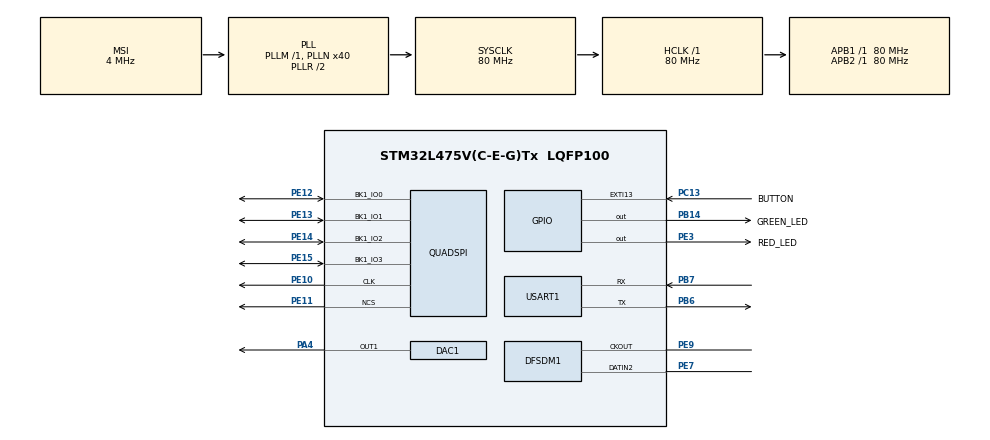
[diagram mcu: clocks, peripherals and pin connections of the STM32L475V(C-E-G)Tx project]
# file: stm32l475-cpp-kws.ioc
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DAC1.DAC_Trigger-DAC_OUT1=DAC_TRIGGER_T2_TRGO
DFSDM1.Divider=25
DFSDM1.DmaMode_reg_FIL0=ENABLE
DFSDM1.FastMode_reg_FIL0=ENABLE
DFSDM1.Filter_regChannel_FIL0=DFSDM_CHANNEL_2
DFSDM1.Fosr_FIL0=200
DFSDM1.SincOrder_FIL0=DFSDM_FILTER_SINC3_ORDER
Dma.DAC_CH1.0.Direction=DMA_MEMORY_TO_PERIPH
Dma.DAC_CH1.0.Instance=DMA1_Channel3
Dma.DAC_CH1.0.MemDataAlignment=DMA_MDATAALIGN_HALFWORD
Dma.DAC_CH1.0.MemInc=DMA_MINC_ENABLE
Dma.DAC_CH1.0.Mode=DMA_CIRCULAR
Dma.DAC_CH1.0.PeriphDataAlignment=DMA_PDATAALIGN_HALFWORD
Dma.DAC_CH1.0.PeriphInc=DMA_PINC_DISABLE
Dma.DAC_CH1.0.Priority=DMA_PRIORITY_LOW
Dma.DFSDM1_FLT0.1.Direction=DMA_PERIPH_TO_MEMORY
Dma.DFSDM1_FLT0.1.Instance=DMA1_Channel4
Dma.DFSDM1_FLT0.1.MemDataAlignment=DMA_MDATAALIGN_WORD
Dma.DFSDM1_FLT0.1.MemInc=DMA_MINC_ENABLE
Dma.DFSDM1_FLT0.1.Mode=DMA_CIRCULAR
Dma.DFSDM1_FLT0.1.PeriphDataAlignment=DMA_PDATAALIGN_WORD
Dma.DFSDM1_FLT0.1.PeriphInc=DMA_PINC_DISABLE
Dma.DFSDM1_FLT0.1.Priority=DMA_PRIORITY_LOW
Dma.Request0=DAC_CH1
Dma.Request1=DFSDM1_FLT0
Mcu.Family=STM32L4
Mcu.Name=STM32L475V(C-E-G)Tx
Mcu.Package=LQFP100
NVIC.DMA1_Channel3_IRQn=true\:0\:0\:false\:false\:true\:false\:true
NVIC.DMA1_Channel4_IRQn=true\:0\:0\:false\:false\:true\:false\:true
NVIC.EXTI15_10_IRQn=true\:0\:0\:false\:false\:true\:true\:true
NVIC.PriorityGroup=NVIC_PRIORITYGROUP_4
NVIC.TIM1_TRG_COM_TIM17_IRQn=true\:15\:0\:false\:false\:true\:false\:true
NVIC.TIM2_IRQn=true\:0\:0\:false\:false\:true\:true\:true
NVIC.TimeBase=TIM1_TRG_COM_TIM17_IRQn
NVIC.TimeBaseIP=TIM17
PA13\ (JTMS-SWDIO).Signal=SYS_JTMS-SWDIO
PA4.Signal=COMP_DAC11_group
PB14.GPIO_Label=GREEN_LED
PB14.Signal=GPIO_Output
PB3\ (JTDO-TRACESWO).Signal=SYS_JTDO-SWO
PB6.Mode=Asynchronous
PB6.Signal=USART1_TX
PB7.Mode=Asynchronous
PB7.Signal=USART1_RX
PC13.GPIO_Label=BUTTON
PC13.Signal=GPXTI13
PE10.Mode=Single Bank
PE10.Signal=QUADSPI_CLK
PE11.Mode=Single Bank
PE11.Signal=QUADSPI_NCS
PE12.Mode=Single Bank
PE12.Signal=QUADSPI_BK1_IO0
PE13.Mode=Single Bank
PE13.Signal=QUADSPI_BK1_IO1
PE14.Mode=Single Bank
PE14.Signal=QUADSPI_BK1_IO2
PE15.Mode=Single Bank
PE15.Signal=QUADSPI_BK1_IO3
PE3.GPIO_Label=RED_LED
PE3.Signal=GPIO_Output
PE7.Signal=S_DATAIN2DFSDM1
PE9.Signal=S_CKOUTDFSDM1
ProjectManager.HeapSize=0x200
ProjectManager.StackSize=0x400
ProjectManager.TargetToolchain=STM32CubeIDE
RCC.ADCFreq_Value=48000000
RCC.AHBFreq_Value=80000000
RCC.APB1Freq_Value=80000000
RCC.APB1TimFreq_Value=80000000
RCC.APB2Freq_Value=80000000
RCC.APB2TimFreq_Value=80000000
RCC.CortexFreq_Value=80000000
RCC.HCLKFreq_Value=80000000
RCC.HSE_VALUE=8000000
RCC.HSI_VALUE=16000000
RCC.LSE_VALUE=32768
RCC.MSI_VALUE=4000000
RCC.PLLN=40
RCC.PLLSAI1N=24
RCC.SYSCLKFreq_VALUE=80000000
RCC.SYSCLKSource=RCC_SYSCLKSOURCE_PLLCLK
RCC.USBFreq_Value=48000000
RCC.VCOOutputFreq_Value=160000000
SH.COMP_DAC11_group.0=DAC1_OUT1,DAC_OUT1
SH.S_CKOUTDFSDM1.0=DFSDM1_CKOUT,PDM_SPI_input_from_ch2_and_internal_clock
SH.S_CKOUTDFSDM1.1=DFSDM1_CKOUT,CKOUT
SH.S_DATAIN2DFSDM1.0=DFSDM1_DATIN2,PDM_SPI_input_from_ch2_and_internal_clock
TIM2.Period=5000
TIM2.TIM_MasterOutputTrigger=TIM_TRGO_UPDATE
USART1.VirtualMode-Asynchronous=VM_ASYNC
VP_CRC_VS_CRC.Mode=CRC_Activate
VP_SYS_VS_tim17.Mode=TIM17
VP_TIM2_VS_ClockSourceINT.Mode=Internal
board=B-L475E-IOT01A1

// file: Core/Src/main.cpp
/* USER CODE BEGIN Header */
/**
  ******************************************************************************
  * @file           : main.c
  * @brief          : Main program body
  ******************************************************************************
  * @attention
  *
  * <h2><center>&copy; Copyright (c) 2021 STMicroelectronics.
  * All rights reserved.</center></h2>
  *
  * This software component is licensed by ST under BSD 3-Clause license,
  * the "License"; You may not use this file except in compliance with the
  * License. You may obtain a copy of the License at:
  *                        opensource.org/licenses/BSD-3-Clause
  *
  ******************************************************************************
  */
/* USER CODE END Header */
#include "main.h"

/* USER CODE BEGIN Includes */

#include "low_power.h"
#include "qspi_handler.h"
#include "audio_recorder.h"
#include "audio_player.h"
#include "arm_math.h"
#include "ML-KWS-for-MCU/NN/DS_CNN/ds_cnn.h"
#include "ML-KWS-for-MCU/NN/DNN/dnn.h"

#include "ML-KWS-for-MCU/MFCC/mfcc.h"
#include "kws.h"
#include <stdlib.h>
#include <math.h>
#include <stdio.h>
#include <string.h>
/* USER CODE END Includes */

/* USER CODE BEGIN PD */
#define ARM_MATH_CM4
#define ITM_Port32(n) (*((volatile unsigned long *) (0xE0000000+4*n)))

/* USER CODE END PD */

CRC_HandleTypeDef hcrc;

DAC_HandleTypeDef hdac1;
DMA_HandleTypeDef hdma_dac_ch1;

DFSDM_Filter_HandleTypeDef hdfsdm1_filter0;
DFSDM_Channel_HandleTypeDef hdfsdm1_channel2;
DMA_HandleTypeDef hdma_dfsdm1_flt0;

QSPI_HandleTypeDef hqspi;

TIM_HandleTypeDef htim2;

UART_HandleTypeDef huart1;

/* USER CODE BEGIN PV */

// State Machine
// SETUP: erasing Quad-SPI Flash
// READY: waits for the user to push the button to start recording
// RECORDING: records data from the DFSDM, waits for second push or timeout to stop
// NN: preprocess the audio data and forward into the neural network
// DAC_TEST: testing audio signal through the dac output
enum MAIN_STATE {READY, SETUP, RECORDING, NN, AUDIO_TEST, MFCC_TEST};
volatile enum MAIN_STATE main_state;

// text buffer
char uart_buffer[100] = "";

AudioRecorder *audio_recorder;
WaveData *wave_data;

AudioPlayer *audio_player;
//DACData *dac_data;

// Flags
uint8_t LOW_POWER_MODE = 1;
uint8_t DEBUG_MODE = 1;

/* USER CODE END PV */

void SystemClock_Config(void);
static void MX_GPIO_Init(void);
static void MX_QUADSPI_Init(void);
static void MX_DMA_Init(void);
static void MX_DAC1_Init(void);
static void MX_DFSDM1_Init(void);
static void MX_TIM2_Init(void);
static void MX_USART1_UART_Init(void);
static void MX_CRC_Init(void);

int main(void)
{

  /* MCU Configuration--------------------------------------------------------*/

  /* Reset of all peripherals, Initializes the Flash interface and the Systick. */
  HAL_Init();

  /* Configure the system clock */
  SystemClock_Config();

  /* Initialize all configured peripherals */
  MX_GPIO_Init();
  MX_QUADSPI_Init();
  MX_DMA_Init();
  MX_DAC1_Init();
  MX_DFSDM1_Init();
  MX_TIM2_Init();
  MX_USART1_UART_Init();
  MX_CRC_Init();
  /* USER CODE BEGIN 2 */

  qspi_init();
  HAL_TIM_Base_Start_IT(&htim2);
  main_state = SETUP;

  char output_class[12][8] = {"silence", "unknown","yes","no","up","down","left","right","on","off","stop","go"};

  /* USER CODE END 2 */

  /* Infinite loop */
  /* USER CODE BEGIN WHILE */
  while (1)
  {
	switch(main_state) {
	case SETUP:
	{
		ITM_Port32(31) = 1;
		HAL_GPIO_WritePin(GREEN_LED_GPIO_Port, GREEN_LED_Pin, GPIO_PIN_RESET);

		// To indicate to user, don't do nothing when red light
		HAL_GPIO_WritePin(RED_LED_GPIO_Port, RED_LED_Pin, GPIO_PIN_RESET);
		qspi_erase_blocks(WAVE_DATA_QSPI_ADDRESS, 6);

		ITM_Port32(31) = 2;
		print("Press the blue button and say a keyword\r\n");
		HAL_GPIO_WritePin(RED_LED_GPIO_Port, RED_LED_Pin, GPIO_PIN_SET);
	  	main_state = READY;
		break;
	}
	case RECORDING:
	{
		ITM_Port32(31) = 3;
		HAL_GPIO_WritePin(GREEN_LED_GPIO_Port, GREEN_LED_Pin, GPIO_PIN_SET);
		audio_recorder = new AudioRecorder(&hdfsdm1_filter0);
		wave_data = audio_recorder->record_audio(WAVE_DATA_QSPI_ADDRESS);

		ITM_Port32(31) = 4;
		HAL_GPIO_WritePin(GREEN_LED_GPIO_Port, GREEN_LED_Pin, GPIO_PIN_RESET);
//		main_state = NN;
		audio_recorder->~AudioRecorder();
		delete audio_recorder;
		main_state = AUDIO_TEST;
		break;
	}
	case NN:
	{
		HAL_GPIO_WritePin(RED_LED_GPIO_Port, RED_LED_Pin, GPIO_PIN_RESET);

		// input buffer
		int16_t *audio_buffer = new int16_t[(RECORDING_WINDOW_LENGTH+1)*FRAME_SHIFT];

		// mfcc coefficients
		q7_t *mfcc_out = (q7_t*) calloc(NUM_FRAMES * NUM_MFCC_COEFFS, sizeof(q7_t));

		// output buffer
		q7_t *predictions = (q7_t*) calloc(NUM_PREDICTIONS * NUM_OUTPUT_CLASSES, sizeof(q7_t));

		// average predictions
		q7_t *average = new q7_t[NUM_OUTPUT_CLASSES];

		uint32_t pred_index;

		q7_t *mfcc_head;

//		DS_CNN *model = new DS_CNN();
		DNN *model = new DNN();

		MFCC *mfcc = new MFCC(NUM_MFCC_COEFFS, FRAME_LEN, MFCC_DEC_BITS);

		bool keyword_detected = false;

		q7_t *average_window_head = predictions;
		for (uint32_t i = 0; i < NUM_PREDICTIONS; i ++) {
				qspi_read((uint8_t*)audio_buffer, WAVE_DATA_QSPI_ADDRESS + (i * RECORDING_WINDOW_LENGTH * FRAME_SHIFT * WAVE_DATA_WIDTH), RECORDING_WINDOW_SIZE);
				// move old data to the left
				arm_copy_q7(mfcc_out + (RECORDING_WINDOW_LENGTH * NUM_MFCC_COEFFS), mfcc_out, (NUM_FRAMES - RECORDING_WINDOW_LENGTH) * NUM_MFCC_COEFFS);
				mfcc_head = mfcc_out + ((NUM_FRAMES-RECORDING_WINDOW_LENGTH) * NUM_MFCC_COEFFS);
				for (uint32_t j = 0; j < RECORDING_WINDOW_LENGTH; j ++) {
					mfcc->mfcc_compute(audio_buffer + (j * FRAME_SHIFT), mfcc_head);
					mfcc_head += NUM_MFCC_COEFFS;
				}
				q7_t* nn_out = predictions + (i * NUM_OUTPUT_CLASSES);
				model->run_nn(mfcc_out, nn_out);
				arm_softmax_q7(nn_out,NUM_OUTPUT_CLASSES,nn_out);

				// get prediction for each recording window
				if (DEBUG_MODE) {
					pred_index = get_top_class(nn_out);
					sprintf(uart_buffer, "Prediction: \"%s\" score: %d\r\n", output_class[pred_index], nn_out[pred_index]);
					print(uart_buffer);
				}

				// increment average window pointer
				if (i >= AVERAGE_WINDOW_LENGTH) {
					average_window_head += NUM_OUTPUT_CLASSES;
				}
				average_predictions(average, average_window_head, AVERAGE_WINDOW_LENGTH, NUM_OUTPUT_CLASSES);
				pred_index = get_top_class(average);

				if (DEBUG_MODE) {
					sprintf(uart_buffer, "Average: \"%s\" score: %d\r\n", output_class[pred_index], average[pred_index]);
					print(uart_buffer);
				}

				if (pred_index != SILENCE_INDEX && pred_index != UNKNOWN_INDEX && average[pred_index] / 128.0 * 100 > DETECTION_THRESHOLD) {
					sprintf(uart_buffer, "Keyword Detected: \"%s\"\r\n", output_class[pred_index]);
					print(uart_buffer);
					keyword_detected = true;
					break;
				}
		}

		if (!keyword_detected) {
			print("No keyword detected.");
		}

		mfcc->~MFCC();
		delete mfcc;
//		model->~DS_CNN();
		model->~DNN();

//		delete model;
		delete [] mfcc_out;
		delete [] predictions;
		delete [] average;
		delete [] audio_buffer;
		main_state = SETUP;
		break;
	}
	case AUDIO_TEST:
	{
		audio_player = new AudioPlayer(&hdac1);
		audio_player->play_audio(wave_data);

//		audio_recorder->print_data(wave_data);
		main_state = NN;
//		main_state = SETUP;
		audio_player->~AudioPlayer();
		delete audio_player;

		break;
	}
	case READY:
	{
		if (LOW_POWER_MODE)
			enter_sleep_mode();
		break;
	}
	}
    /* USER CODE END WHILE */

  }
}

void SystemClock_Config(void)
{
  RCC_OscInitTypeDef RCC_OscInitStruct = {0};
  RCC_ClkInitTypeDef RCC_ClkInitStruct = {0};

  /** Configure the main internal regulator output voltage
  */
  if (HAL_PWREx_ControlVoltageScaling(PWR_REGULATOR_VOLTAGE_SCALE1) != HAL_OK)
  {
    Error_Handler();
  }
  /** Initializes the RCC Oscillators according to the specified parameters
  * in the RCC_OscInitTypeDef structure.
  */
  RCC_OscInitStruct.OscillatorType = RCC_OSCILLATORTYPE_MSI;
  RCC_OscInitStruct.MSIState = RCC_MSI_ON;
  RCC_OscInitStruct.MSICalibrationValue = 0;
  RCC_OscInitStruct.MSIClockRange = RCC_MSIRANGE_6;
  RCC_OscInitStruct.PLL.PLLState = RCC_PLL_ON;
  RCC_OscInitStruct.PLL.PLLSource = RCC_PLLSOURCE_MSI;
  RCC_OscInitStruct.PLL.PLLM = 1;
  RCC_OscInitStruct.PLL.PLLN = 40;
  RCC_OscInitStruct.PLL.PLLP = RCC_PLLP_DIV7;
  RCC_OscInitStruct.PLL.PLLQ = RCC_PLLQ_DIV2;
  RCC_OscInitStruct.PLL.PLLR = RCC_PLLR_DIV2;
  if (HAL_RCC_OscConfig(&RCC_OscInitStruct) != HAL_OK)
  {
    Error_Handler();
  }
  /** Initializes the CPU, AHB and APB buses clocks
  */
  RCC_ClkInitStruct.ClockType = RCC_CLOCKTYPE_HCLK|RCC_CLOCKTYPE_SYSCLK
                              |RCC_CLOCKTYPE_PCLK1|RCC_CLOCKTYPE_PCLK2;
  RCC_ClkInitStruct.SYSCLKSource = RCC_SYSCLKSOURCE_PLLCLK;
  RCC_ClkInitStruct.AHBCLKDivider = RCC_SYSCLK_DIV1;
  RCC_ClkInitStruct.APB1CLKDivider = RCC_HCLK_DIV1;
  RCC_ClkInitStruct.APB2CLKDivider = RCC_HCLK_DIV1;

  if (HAL_RCC_ClockConfig(&RCC_ClkInitStruct, FLASH_LATENCY_4) != HAL_OK)
  {
    Error_Handler();
  }
}

static void MX_CRC_Init(void)
{

  hcrc.Instance = CRC;
  hcrc.Init.DefaultPolynomialUse = DEFAULT_POLYNOMIAL_ENABLE;
  hcrc.Init.DefaultInitValueUse = DEFAULT_INIT_VALUE_ENABLE;
  hcrc.Init.InputDataInversionMode = CRC_INPUTDATA_INVERSION_NONE;
  hcrc.Init.OutputDataInversionMode = CRC_OUTPUTDATA_INVERSION_DISABLE;
  hcrc.InputDataFormat = CRC_INPUTDATA_FORMAT_BYTES;
  if (HAL_CRC_Init(&hcrc) != HAL_OK)
  {
    Error_Handler();
  }

}

static void MX_DAC1_Init(void)
{

  DAC_ChannelConfTypeDef sConfig = {0};

  /** DAC Initialization
  */
  hdac1.Instance = DAC1;
  if (HAL_DAC_Init(&hdac1) != HAL_OK)
  {
    Error_Handler();
  }
  /** DAC channel OUT1 config
  */
  sConfig.DAC_SampleAndHold = DAC_SAMPLEANDHOLD_DISABLE;
  sConfig.DAC_Trigger = DAC_TRIGGER_T2_TRGO;
  sConfig.DAC_OutputBuffer = DAC_OUTPUTBUFFER_ENABLE;
  sConfig.DAC_ConnectOnChipPeripheral = DAC_CHIPCONNECT_DISABLE;
  sConfig.DAC_UserTrimming = DAC_TRIMMING_FACTORY;
  if (HAL_DAC_ConfigChannel(&hdac1, &sConfig, DAC_CHANNEL_1) != HAL_OK)
  {
    Error_Handler();
  }

}

static void MX_DFSDM1_Init(void)
{

  hdfsdm1_filter0.Instance = DFSDM1_Filter0;
  hdfsdm1_filter0.Init.RegularParam.Trigger = DFSDM_FILTER_SW_TRIGGER;
  hdfsdm1_filter0.Init.RegularParam.FastMode = ENABLE;
  hdfsdm1_filter0.Init.RegularParam.DmaMode = ENABLE;
  hdfsdm1_filter0.Init.FilterParam.SincOrder = DFSDM_FILTER_SINC3_ORDER;
  hdfsdm1_filter0.Init.FilterParam.Oversampling = 200;
  hdfsdm1_filter0.Init.FilterParam.IntOversampling = 1;
  if (HAL_DFSDM_FilterInit(&hdfsdm1_filter0) != HAL_OK)
  {
    Error_Handler();
  }
  hdfsdm1_channel2.Instance = DFSDM1_Channel2;
  hdfsdm1_channel2.Init.OutputClock.Activation = ENABLE;
  hdfsdm1_channel2.Init.OutputClock.Selection = DFSDM_CHANNEL_OUTPUT_CLOCK_SYSTEM;
  hdfsdm1_channel2.Init.OutputClock.Divider = 25;
  hdfsdm1_channel2.Init.Input.Multiplexer = DFSDM_CHANNEL_EXTERNAL_INPUTS;
  hdfsdm1_channel2.Init.Input.DataPacking = DFSDM_CHANNEL_STANDARD_MODE;
  hdfsdm1_channel2.Init.Input.Pins = DFSDM_CHANNEL_SAME_CHANNEL_PINS;
  hdfsdm1_channel2.Init.SerialInterface.Type = DFSDM_CHANNEL_SPI_RISING;
  hdfsdm1_channel2.Init.SerialInterface.SpiClock = DFSDM_CHANNEL_SPI_CLOCK_INTERNAL;
  hdfsdm1_channel2.Init.Awd.FilterOrder = DFSDM_CHANNEL_FASTSINC_ORDER;
  hdfsdm1_channel2.Init.Awd.Oversampling = 1;
  hdfsdm1_channel2.Init.Offset = 0;
  hdfsdm1_channel2.Init.RightBitShift = 0x00;
  if (HAL_DFSDM_ChannelInit(&hdfsdm1_channel2) != HAL_OK)
  {
    Error_Handler();
  }
  if (HAL_DFSDM_FilterConfigRegChannel(&hdfsdm1_filter0, DFSDM_CHANNEL_2, DFSDM_CONTINUOUS_CONV_ON) != HAL_OK)
  {
    Error_Handler();
  }

}

static void MX_QUADSPI_Init(void)
{

  /* QUADSPI parameter configuration*/
  hqspi.Instance = QUADSPI;
  hqspi.Init.ClockPrescaler = 255;
  hqspi.Init.FifoThreshold = 1;
  hqspi.Init.SampleShifting = QSPI_SAMPLE_SHIFTING_NONE;
  hqspi.Init.FlashSize = 1;
  hqspi.Init.ChipSelectHighTime = QSPI_CS_HIGH_TIME_1_CYCLE;
  hqspi.Init.ClockMode = QSPI_CLOCK_MODE_0;
  if (HAL_QSPI_Init(&hqspi) != HAL_OK)
  {
    Error_Handler();
  }

}

static void MX_TIM2_Init(void)
{

  TIM_ClockConfigTypeDef sClockSourceConfig = {0};
  TIM_MasterConfigTypeDef sMasterConfig = {0};

  htim2.Instance = TIM2;
  htim2.Init.Prescaler = 0;
  htim2.Init.CounterMode = TIM_COUNTERMODE_UP;
  htim2.Init.Period = 5000;
  htim2.Init.ClockDivision = TIM_CLOCKDIVISION_DIV1;
  htim2.Init.AutoReloadPreload = TIM_AUTORELOAD_PRELOAD_DISABLE;
  if (HAL_TIM_Base_Init(&htim2) != HAL_OK)
  {
    Error_Handler();
  }
  sClockSourceConfig.ClockSource = TIM_CLOCKSOURCE_INTERNAL;
  if (HAL_TIM_ConfigClockSource(&htim2, &sClockSourceConfig) != HAL_OK)
  {
    Error_Handler();
  }
  sMasterConfig.MasterOutputTrigger = TIM_TRGO_UPDATE;
  sMasterConfig.MasterSlaveMode = TIM_MASTERSLAVEMODE_DISABLE;
  if (HAL_TIMEx_MasterConfigSynchronization(&htim2, &sMasterConfig) != HAL_OK)
  {
    Error_Handler();
  }

}

static void MX_USART1_UART_Init(void)
{

  huart1.Instance = USART1;
  huart1.Init.BaudRate = 115200;
  huart1.Init.WordLength = UART_WORDLENGTH_8B;
  huart1.Init.StopBits = UART_STOPBITS_1;
  huart1.Init.Parity = UART_PARITY_NONE;
  huart1.Init.Mode = UART_MODE_TX_RX;
  huart1.Init.HwFlowCtl = UART_HWCONTROL_NONE;
  huart1.Init.OverSampling = UART_OVERSAMPLING_16;
  huart1.Init.OneBitSampling = UART_ONE_BIT_SAMPLE_DISABLE;
  huart1.AdvancedInit.AdvFeatureInit = UART_ADVFEATURE_NO_INIT;
  if (HAL_UART_Init(&huart1) != HAL_OK)
  {
    Error_Handler();
  }

}

static void MX_DMA_Init(void)
{

  /* DMA controller clock enable */
  __HAL_RCC_DMA1_CLK_ENABLE();

  /* DMA interrupt init */
  /* DMA1_Channel3_IRQn interrupt configuration */
  HAL_NVIC_SetPriority(DMA1_Channel3_IRQn, 0, 0);
  HAL_NVIC_EnableIRQ(DMA1_Channel3_IRQn);
  /* DMA1_Channel4_IRQn interrupt configuration */
  HAL_NVIC_SetPriority(DMA1_Channel4_IRQn, 0, 0);
  HAL_NVIC_EnableIRQ(DMA1_Channel4_IRQn);

}

static void MX_GPIO_Init(void)
{
  GPIO_InitTypeDef GPIO_InitStruct = {0};

  /* GPIO Ports Clock Enable */
  __HAL_RCC_GPIOE_CLK_ENABLE();
  __HAL_RCC_GPIOC_CLK_ENABLE();
  __HAL_RCC_GPIOA_CLK_ENABLE();
  __HAL_RCC_GPIOB_CLK_ENABLE();

  /*Configure GPIO pin Output Level */
  HAL_GPIO_WritePin(RED_LED_GPIO_Port, RED_LED_Pin, GPIO_PIN_RESET);

  /*Configure GPIO pin Output Level */
  HAL_GPIO_WritePin(GREEN_LED_GPIO_Port, GREEN_LED_Pin, GPIO_PIN_RESET);

  /*Configure GPIO pin : RED_LED_Pin */
  GPIO_InitStruct.Pin = RED_LED_Pin;
  GPIO_InitStruct.Mode = GPIO_MODE_OUTPUT_PP;
  GPIO_InitStruct.Pull = GPIO_NOPULL;
  GPIO_InitStruct.Speed = GPIO_SPEED_FREQ_LOW;
  HAL_GPIO_Init(RED_LED_GPIO_Port, &GPIO_InitStruct);

  /*Configure GPIO pin : BUTTON_Pin */
  GPIO_InitStruct.Pin = BUTTON_Pin;
  GPIO_InitStruct.Mode = GPIO_MODE_IT_RISING;
  GPIO_InitStruct.Pull = GPIO_NOPULL;
  HAL_GPIO_Init(BUTTON_GPIO_Port, &GPIO_InitStruct);

  /*Configure GPIO pin : GREEN_LED_Pin */
  GPIO_InitStruct.Pin = GREEN_LED_Pin;
  GPIO_InitStruct.Mode = GPIO_MODE_OUTPUT_PP;
  GPIO_InitStruct.Pull = GPIO_NOPULL;
  GPIO_InitStruct.Speed = GPIO_SPEED_FREQ_LOW;
  HAL_GPIO_Init(GREEN_LED_GPIO_Port, &GPIO_InitStruct);

  /* EXTI interrupt init*/
  HAL_NVIC_SetPriority(EXTI15_10_IRQn, 0, 0);
  HAL_NVIC_EnableIRQ(EXTI15_10_IRQn);

}

/* USER CODE BEGIN 4 */

// callback function of GPIO interrupts
void HAL_GPIO_EXTI_Callback (uint16_t GPIO_Pin)
{
	switch(GPIO_Pin) {
	case BUTTON_Pin:
		switch(main_state) {
		case READY:
			main_state = RECORDING;
			break;
		case RECORDING:
//			dfsdm_stop_flag = 1;
			audio_recorder->dfsdm_stop_flag = 1;
			break;
		case SETUP:
		case MFCC_TEST:
		case AUDIO_TEST:
		case NN:
			break;
		}
		break;
	}
}

// DAC Circular DMA callback functions
void HAL_DAC_ConvHalfCpltCallbackCh1 (DAC_HandleTypeDef * hdac) {
	if (hdac->Instance == DAC1) {
		audio_player->played_samples += PLAY_HALF_BUFFER_LENGTH;
		if (audio_player->played_samples >= MAX_RECORD_LENGTH) {
			if (HAL_DAC_Stop_DMA(hdac, DAC_CHANNEL_1) == HAL_ERROR) {
				Error_Handler();
			}
			audio_player->dac_stop_flag = 1;
		}
		else {
			audio_player->update_dac_buffer(0, PLAY_HALF_BUFFER_LENGTH);
		}
	}
}

void HAL_DAC_ConvCpltCallbackCh1 (DAC_HandleTypeDef * hdac) {
	audio_player->played_samples += PLAY_HALF_BUFFER_LENGTH;
	if (hdac->Instance == DAC1) {
		if (audio_player->played_samples >= MAX_RECORD_LENGTH) {
			if (HAL_DAC_Stop_DMA(hdac, DAC_CHANNEL_1) == HAL_ERROR) {
				Error_Handler();
			}
			audio_player->dac_stop_flag = 1;
		}
		else {
			audio_player->update_dac_buffer(PLAY_HALF_BUFFER_LENGTH, PLAY_HALF_BUFFER_LENGTH);
		}
	}
}

// DFSDM Circular DMA Callback Functions
void HAL_DFSDM_FilterRegConvHalfCpltCallback (DFSDM_Filter_HandleTypeDef *hdfsdm_filter) {
	if (hdfsdm_filter == &hdfsdm1_filter0) {
		audio_recorder->update_wave_buffer(0, RECORD_HALF_BUFFER_LENGTH);
		if (audio_recorder->cur_data->num_of_samples >= MAX_RECORD_LENGTH) {
			audio_recorder->dfsdm_stop_flag = 1;
			if (HAL_DFSDM_FilterRegularStop_DMA(hdfsdm_filter) == HAL_ERROR) {
				Error_Handler();
			}
		}
	}
}

void HAL_DFSDM_FilterRegConvCpltCallback(DFSDM_Filter_HandleTypeDef *hdfsdm_filter) {
	if (hdfsdm_filter == &hdfsdm1_filter0) {
		audio_recorder->update_wave_buffer(RECORD_HALF_BUFFER_LENGTH, RECORD_HALF_BUFFER_LENGTH);
		if (audio_recorder->cur_data->num_of_samples >= MAX_RECORD_LENGTH) {
			audio_recorder->dfsdm_stop_flag = 1;
			if (HAL_DFSDM_FilterRegularStop_DMA(hdfsdm_filter) == HAL_ERROR) {
				Error_Handler();
			}
		}

	}
}

void print(const char* txt) {
	strcpy(uart_buffer, txt);
  	HAL_UART_Transmit(&huart1, (uint8_t *)uart_buffer, strlen(txt), 10);
}
/* USER CODE END 4 */

void HAL_TIM_PeriodElapsedCallback(TIM_HandleTypeDef *htim)
{
  if (htim->Instance == TIM17) {
    HAL_IncTick();
  }
}

void Error_Handler(void)
{
  /* USER CODE BEGIN Error_Handler_Debug */
	HAL_GPIO_WritePin(RED_LED_GPIO_Port, RED_LED_Pin, GPIO_PIN_RESET);
	__BKPT();
  /* User can add his own implementation to report the HAL error return state */
  __disable_irq();
  while (1)
  {
  }
  /* USER CODE END Error_Handler_Debug */
}

/************************ (C) COPYRIGHT STMicroelectronics *****END OF FILE****/
